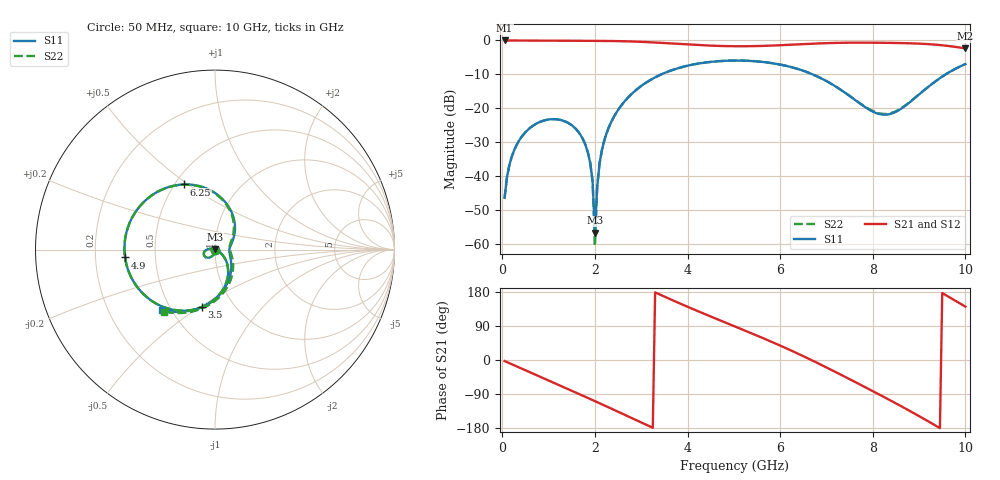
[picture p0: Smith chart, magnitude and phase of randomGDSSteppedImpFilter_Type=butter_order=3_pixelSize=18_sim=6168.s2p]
! freq	dB(S11)	phase(S11)	dB(S12)	phase(S12)
!  dB(S21)	phase(S21)	dB(S22)	phase(S22)
!S-par simulation data
#  GHz  S  DB  R 50
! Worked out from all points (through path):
!   200 points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, 50 MHz to 10 GHz, reference 50 ohm
!   highest |S21| = 0.00 dB at 50 MHz (marker M1); lowest = -2.4 dB at 10 GHz (marker M2)
!   group delay of S21, straight-line fit = 157 ps
!   lowest |S11| = -56.8 dB at 2 GHz (marker M3), VSWR 1.00, Z = 50 + j0.141 ohm
!   |S11| at or under -10 dB: start of sweep to 3.438 GHz; 6.696 GHz to 9.577 GHz (2.881 GHz wide, 35.4 % of centre)
!   |S22| runs from -60.8 to -5.9 dB; largest |S21 - S12| = 0
!   S11 on the Smith chart (normalised r, x): 50 MHz: 1.00, -0.01; 3.5 GHz: 0.71, -0.51; 4.9 GHz: 0.33, -0.04; 6.25 GHz: 0.56, +0.48; 10 GHz: 0.45, -0.38
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0.05  -46.49 -91.8  -0.00 -2.8  -0.00 -2.8  -46.49 -91.8
0.25  -32.64 -103.3  -0.02 -13.6  -0.02 -13.6  -32.64 -103.3
0.65  -25.30 -125.5  -0.05 -35.2  -0.05 -35.2  -25.30 -125.4
1.3  -23.65 -161.4  -0.10 -70.3  -0.10 -70.3  -23.65 -161.0
1.75  -29.41 173.1  -0.11 -94.7  -0.11 -94.7  -29.41 174.2
1.95  -41.52 157.5  -0.12 -105.7  -0.12 -105.7  -41.59 162.6
2  -56.81 102.0  -0.13 -108.5  -0.13 -108.5  -60.77 128.5
2.05  -43.10 -14.6  -0.13 -111.3  -0.13 -111.3  -43.14 -21.3
2.1  -36.36 -21.5  -0.13 -114.1  -0.13 -114.1  -36.35 -24.6
2.25  -27.49 -32.0  -0.15 -122.5  -0.15 -122.5  -27.49 -33.2
2.7  -17.09 -58.2  -0.27 -147.8  -0.27 -147.8  -17.08 -58.6
3.4  -10.23 -97.5  -0.69 172.8  -0.69 172.8  -10.23 -97.7
3.5  -9.63 -103.0  -0.77 167.3  -0.77 167.3  -9.63 -103.2
4.2  -6.91 -140.0  -1.34 130.1  -1.34 130.1  -6.91 -140.1
4.9  -5.97 -175.0  -1.69 94.7  -1.69 94.7  -5.97 -175.0
5.05  -5.94 177.5  -1.72 87.2  -1.72 87.2  -5.94 177.6
6.25  -7.92 115.4  -1.25 24.3  -1.25 24.3  -7.91 115.9
6.7  -10.02 89.9  -0.96 -1.6  -0.96 -1.6  -10.01 90.9
7.65  -17.91 34.2  -0.65 -60.0  -0.65 -60.0  -17.84 38.4
8.35  -21.82 -9.0  -0.71 -104.6  -0.71 -104.6  -21.60 -0.9
9.2  -13.70 -71.9  -1.09 -162.0  -1.09 -162.0  -13.68 -68.1
10  -6.98 -131.1  -2.36 140.8  -2.36 140.8  -6.99 -129.5
